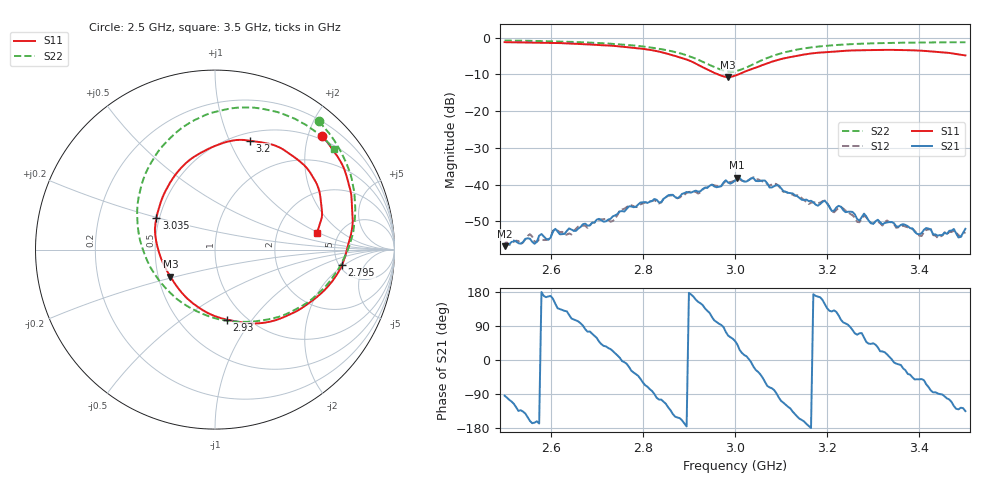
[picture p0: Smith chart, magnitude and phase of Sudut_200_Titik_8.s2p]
# Hz S RI R 50
! CMT, C1220, 16058040, 17.2.0/1
! Date: 15/08/2018 09:56:54
! Data: Format (Calibration Info)
! Freq  S11: Re/Im (F2)  S21: Re/Im (F2)  S12: Re/Im (F2)  S22: Re/Im (F2)
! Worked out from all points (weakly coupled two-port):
!   201 points, 2.5 GHz to 3.5 GHz, reference 50 ohm
!   highest |S21| = -38.07 dB at 3.005 GHz (marker M1); lowest = -56.8 dB at 2.5 GHz (marker M2)
!   lowest |S11| = -10.7 dB at 2.985 GHz (marker M3), VSWR 1.82, Z = 29 - j9.58 ohm
!   |S11| at or under -10 dB: 2.963 GHz to 3.007 GHz (43.81 MHz wide, 1.47 % of centre)
!   |S22| runs from -9.2 to -0.7 dB; largest |S21 - S12| = 0.001
!   S11 on the Smith chart (normalised r, x): 2.5 GHz: 0.43, +2.25; 2.795 GHz: 5.29, -1.85; 2.93 GHz: 0.83, -0.76; 3.035 GHz: 0.48, +0.20; 3.2 GHz: 0.58, +1.19; 3.5 GHz: 3.40, +0.95
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2.5e9  0.5985 0.6319  -0.000107 -0.00145  -8.03e-05 -0.00161  0.5773 0.7139
2.67e9  0.7576 0.3153  -3.57e-05 0.00289  0.000139 0.00276  0.7481 0.4398
2.735e9  0.7655 0.1291  0.0034 0.00148  0.00294 0.00126  0.7791 0.2727
2.75e9  0.7564 0.0799  0.0043 0.000436  0.00439 0.000947  0.7815 0.227
2.795e9  0.7073 -0.0863  0.00367 -0.00438  0.00343 -0.00415  0.7643 0.074
2.835e9  0.6053 -0.2309  -0.00141 -0.00555  -0.00132 -0.00538  0.7035 -0.0792
2.93e9  0.0679 -0.3906  -0.00711 0.00503  -0.00729 0.00457  0.2546 -0.3955
2.985e9  -0.248 -0.1513  0.00459 0.00963  0.00426 0.00993  -0.18 -0.2992
3e9  -0.3003 -0.0503  0.00723 0.00871  0.00765 0.00834  -0.2797 -0.2094
3.005e9  -0.3118 -0.0163  0.00941 0.0082  0.00934 0.00762  -0.3092 -0.1751
3.035e9  -0.3265 0.1758  0.0121 -0.00122  0.0121 -0.00101  -0.4184 0.0552
3.1e9  -0.1551 0.4879  -0.00277 -0.0085  -0.00306 -0.00805  -0.3405 0.5098
3.17e9  0.0984 0.6075  -0.00571 0.000649  -0.00574 0.0002  -0.0723 0.7414
3.2e9  0.1923 0.6068  -0.004 0.00381  -0.00385 0.00406  0.0394 0.7761
3.265e9  0.3703 0.5637  0.00134 0.00313  0.0012 0.00287  0.2459 0.7873
3.28e9  0.4035 0.5421  0.00204 0.00348  0.00191 0.00328  0.2871 0.7798
3.295e9  0.4353 0.5199  0.00219 0.00201  0.00223 0.00202  0.3238 0.7722
3.335e9  0.5088 0.4577  0.00306 0.000451  0.00308 0.000261  0.4141 0.7422
3.405e9  0.5815 0.3256  0.0014 -0.00168  0.00122 -0.00158  0.5391 0.6715
3.475e9  0.5877 0.1555  -0.0013 -0.00212  -0.00114 -0.00204  0.6345 0.5908
3.485e9  0.581 0.1316  -0.00123 -0.00146  -0.00136 -0.00155  0.6465 0.5776
3.5e9  0.5661 0.0938  -0.00176 -0.00177  -0.00171 -0.00147  0.663 0.5593
